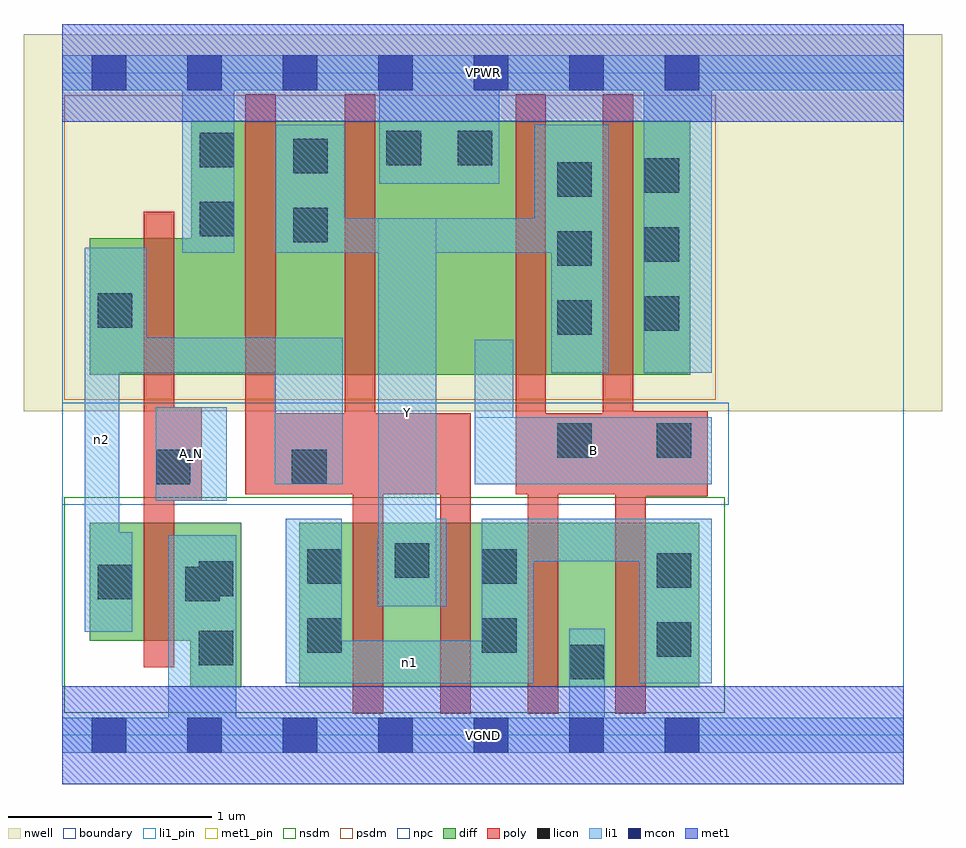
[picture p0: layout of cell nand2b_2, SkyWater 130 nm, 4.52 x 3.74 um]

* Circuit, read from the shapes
.subckt nand2b_2 A_N B VGND VPWR Y n1 n2
XM1 VGND A_N n2 VSUBS sky130_fd_pr__nfet_01v8 w=0.58 l=0.15
XM2 Y n2 n1 VSUBS sky130_fd_pr__nfet_01v8 w=0.81 l=0.15 m=2
XM3 VGND B n1 VSUBS sky130_fd_pr__nfet_01v8 w=0.81 l=0.15 m=2
XM4 VPWR A_N n2 n3 sky130_fd_pr__pfet_01v8 w=0.67 l=0.15
XM5 Y n2 VPWR n3 sky130_fd_pr__pfet_01v8 w=1.25 l=0.15 m=2
XM6 Y B VPWR n3 sky130_fd_pr__pfet_01v8 w=1.25 l=0.15 m=2
.ends

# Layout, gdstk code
import gdstk
lib = gdstk.Library(unit=1e-6, precision=1e-09)
def R(c, l, rs):  # rectangles x0, y0, x1, y1
    for r in rs: c.add(gdstk.rectangle(r[:2], r[2:], *l))
def A(c, l, x, y, w, h, nx, ny, dx, dy):  # array of equal rectangles
    R(c, l, [(x+i*dx, y+j*dy, x+i*dx+w, y+j*dy+h) for i in range(nx) for j in range(ny)])
nwell = (64, 20)
diff = (65, 20)
poly = (66, 20)
licon = (66, 44)
li1_pin = (67, 16)
li1 = (67, 20)
mcon = (67, 44)
met1_pin = (68, 16)
met1 = (68, 20)
nsdm = (93, 44)
psdm = (94, 20)
npc = (95, 20)
boundary = (235, 4)

nand2b_2 = lib.new_cell('nand2b_2')
R(nand2b_2, nwell, [(-0.19,1.595,4.33,3.45), (0,1.595,4.14,3.45)])
R(nand2b_2, diff, [(0.63,0.235,0.88,1.045), (1.165,0.235,3.135,1.045), (0.135,0.465,0.88,1.045), (0.135,1.775,3.09,2.445), (0.635,1.775,3.09,3.025)])
A(nand2b_2, poly, 1.43, 0.105, 0.15, 1.48, 3, 1, 0.43, 0)
R(nand2b_2, poly, [(2.72,0.105,2.81,3.155), (2.72,0.105,2.87,1.595), (0.4,0.335,0.55,2.575), (0.4,1.155,0.685,1.615), (2.72,1.175,3.175,1.595), (0.9,1.185,2.01,1.585), (0.9,1.185,1.05,3.155), (1.39,1.185,1.54,3.155), (2.23,1.185,2.38,3.155), (2.23,1.185,3.175,1.585), (2.66,1.185,2.81,3.155)])
A(nand2b_2, licon, 2.435, 1.97, 0.17, 0.17, 1, 3, 0, 0.34)
A(nand2b_2, licon, 2.865, 1.99, 0.17, 0.17, 1, 3, 0, 0.34)
R(nand2b_2, licon, [(2.495,0.275,2.665,0.445), (0.67,0.345,0.84,0.515), (2.925,0.385,3.095,0.555), (1.205,0.405,1.375,0.575), (2.065,0.405,2.235,0.575), (0.605,0.66,0.775,0.83), (0.175,0.67,0.345,0.84), (0.67,0.685,0.84,0.855), (2.925,0.725,3.095,0.895), (1.205,0.745,1.375,0.915), (2.065,0.745,2.235,0.915), (1.635,0.775,1.805,0.945), (0.46,1.235,0.63,1.405), (1.13,1.235,1.3,1.405), (2.435,1.365,2.605,1.535), (2.925,1.365,3.095,1.535), (0.175,2.005,0.345,2.175), (1.135,2.425,1.305,2.595), (0.675,2.455,0.845,2.625), (1.135,2.765,1.305,2.935), (0.675,2.795,0.845,2.965), (1.595,2.805,1.765,2.975), (1.945,2.805,2.115,2.975)])
R(nand2b_2, li1_pin, [(1.555,0.635,1.84,2.545), (0.46,1.155,0.81,1.615), (2.03,1.235,3.195,1.565)])
R(nand2b_2, li1, [(0,-0.085,4.14,0.085), (0.52,-0.085,0.855,0.985), (2.495,-0.085,2.67,0.525), (1.1,0.255,2.32,0.465), (1.1,0.255,1.375,1.065), (2.065,0.255,2.32,1.065), (2.84,0.255,3.195,1.065), (0.11,0.51,0.28,2.4), (0.11,0.51,0.345,1), (1.55,0.635,1.89,0.965), (1.555,0.635,1.84,2.545), (1.555,0.635,1.89,1.065), (2.065,0.855,3.195,1.065), (0.46,1.155,0.81,1.615), (1.045,1.235,1.38,1.955), (2.03,1.235,3.195,1.565), (2.03,1.235,2.22,1.945), (0.11,1.785,1.38,1.955), (0.11,1.785,0.415,2.4), (2.405,1.785,2.69,3.005), (2.86,1.785,3.195,3.345), (0.59,2.375,0.845,3.345), (1.05,2.375,1.39,3.005), (1.05,2.375,2.69,2.545), (2.325,2.375,2.69,3.005), (1.56,2.715,2.15,3.345), (0,3.175,4.14,3.345)])
A(nand2b_2, mcon, 0.145, -0.085, 0.17, 0.17, 7, 2, 0.47, 3.26)
R(nand2b_2, met1_pin, [(0,-0.24,4.14,0.24), (0,3.02,4.14,3.5)])
R(nand2b_2, met1, [(0,-0.24,4.14,0.24), (0,3.02,4.14,3.5)])
R(nand2b_2, nsdm, [(0.01,0.11,3.26,1.17)])
R(nand2b_2, psdm, [(0.01,1.65,3.215,3.15)])
R(nand2b_2, npc, [(0,1.135,3.28,1.635)])
R(nand2b_2, boundary, [(0,0,4.14,3.26)])
nand2b_2.add(gdstk.Label('A_N', (0.635,1.385), layer=67, texttype=5))
nand2b_2.add(gdstk.Label('B', (2.612,1.4), layer=67, texttype=5))
nand2b_2.add(gdstk.Label('Y', (1.697,1.59), layer=67, texttype=5))
nand2b_2.add(gdstk.Label('n1', (1.71,0.36), layer=67, texttype=5))
nand2b_2.add(gdstk.Label('n2', (0.195,1.455), layer=67, texttype=5))
nand2b_2.add(gdstk.Label('VPWR', (2.07,3.26), layer=68, texttype=5))
nand2b_2.add(gdstk.Label('VGND', (2.07,0), layer=68, texttype=5))
nand2b_2.add(gdstk.Label('A_N', (0.635,1.385), layer=67, texttype=16))
nand2b_2.add(gdstk.Label('B', (2.612,1.4), layer=67, texttype=16))
nand2b_2.add(gdstk.Label('Y', (1.697,1.59), layer=67, texttype=16))
nand2b_2.add(gdstk.Label('VPWR', (2.07,3.26), layer=68, texttype=16))
nand2b_2.add(gdstk.Label('VGND', (2.07,0), layer=68, texttype=16))

lib.write_gds('nand2b_2.gds')
